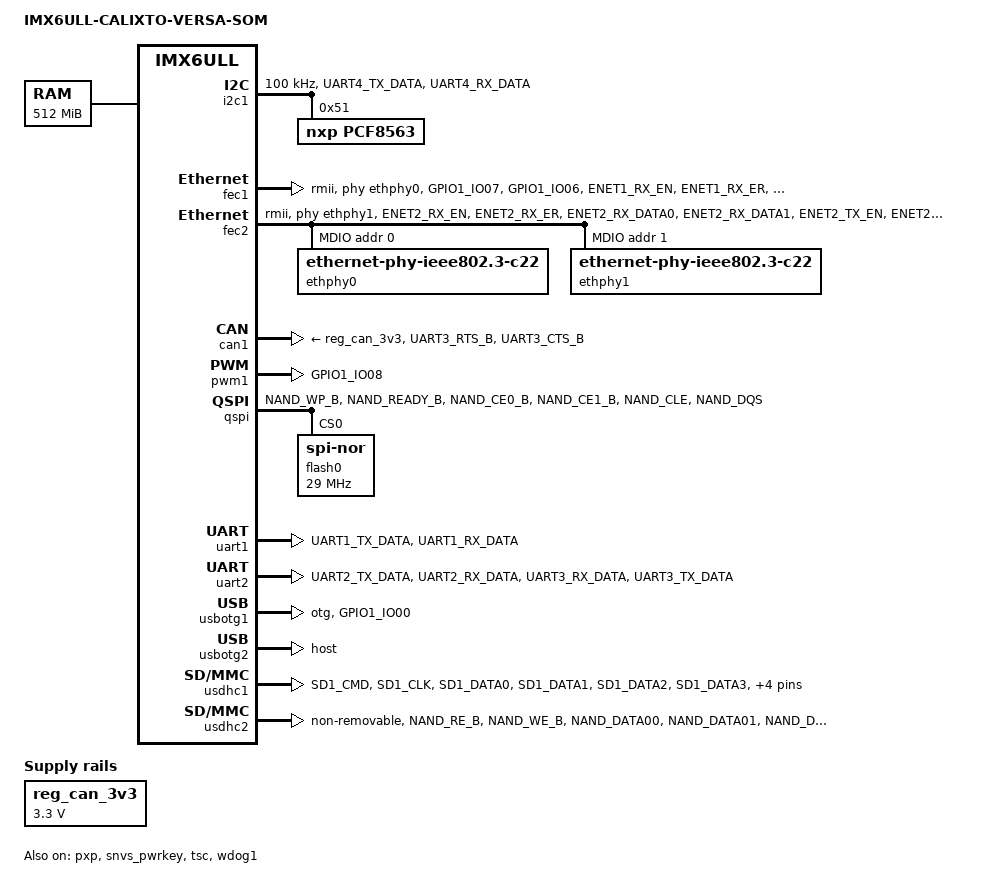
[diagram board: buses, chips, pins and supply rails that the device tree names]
// SPDX-License-Identifier: (GPL-2.0 OR MIT)
/*
 * Copyright (C) 2024-2025 Calixto Systems Pvt Ltd - https://www.calixtosystems.com/
 *
 */
 
/dts-v1/;

#include "imx6ull.dtsi"

/ {
	model = "IMX6ULL-CALIXTO-VERSA-SOM";
	compatible = "calixto,imx6ull-calixto-versa-som", "fsl,imx6ull";

	aliases {
		i2c0 = &i2c1;
	};

	chosen {
		stdout-path = &uart1;
	};

	memory@80000000 {
		device_type = "memory";
		reg = <0x00000000 0x80000000 0x00000000 0x20000000>;
	};

	reserved-memory {
		#address-cells = <1>;
		#size-cells = <1>;
		ranges;

		linux,cma {
			compatible = "shared-dma-pool";
			reusable;
			size = <0xa000000>;
			linux,cma-default;
		};
	};

	pxp_v4l2 {
		compatible = "fsl,imx6ul-pxp-v4l2", "fsl,imx6sx-pxp-v4l2", "fsl,imx6sl-pxp-v4l2";
		status = "okay";
	};

	reg_can_3v3: regulator-can-3v3 {
		compatible = "regulator-fixed";
		regulator-name = "can-3v3";
		regulator-min-microvolt = <3300000>;
		regulator-max-microvolt = <3300000>;
	};

};

&clks {
	assigned-clocks = <&clks IMX6UL_CLK_PLL3_PFD2>,
			  <&clks IMX6UL_CLK_PLL4_AUDIO_DIV>;
	assigned-clock-rates = <320000000>, <786432000>;
};

&i2c1 {
	clock-frequency = <100000>;
	pinctrl-names = "default";
	pinctrl-0 = <&pinctrl_i2c1>;
	status = "okay";

	pcf8563@51 {
		status = "okay";
		compatible = "nxp,pcf8563";
		reg = <0x51>;
	};
};

&fec1 {
	pinctrl-names = "default";
	pinctrl-0 = <&pinctrl_enet1>;
	phy-mode = "rmii";
	phy-handle = <&ethphy0>;
	status = "okay";
};

&fec2 {
	pinctrl-names = "default";
	pinctrl-0 = <&pinctrl_enet2>;
	phy-mode = "rmii";
	phy-handle = <&ethphy1>;
	status = "okay";
	mdio {
		#address-cells = <1>;
		#size-cells = <0>;
		
		ethphy0: ethernet-phy@0 {
			reg = <0>;
			compatible = "ethernet-phy-ieee802.3-c22";
			clocks = <&clks IMX6UL_CLK_ENET_REF>;
			clock-names = "rmii-ref";
		};
		
		ethphy1: ethernet-phy@1 {
			reg = <1>;
			compatible = "ethernet-phy-ieee802.3-c22";
			clocks = <&clks IMX6UL_CLK_ENET_REF>;
			clock-names = "rmii-ref";
		};
	};
};

&can1 {
	pinctrl-names = "default";
	pinctrl-0 = <&pinctrl_flexcan1>;
	xceiver-supply = <&reg_can_3v3>;
	status = "okay";
};

&pwm1 {
	#pwm-cells = <2>;
	pinctrl-names = "default";
	pinctrl-0 = <&pinctrl_pwm1>;
	status = "okay";
};

&pxp {
	status = "okay";
};

&qspi {
	pinctrl-names = "default";
	pinctrl-0 = <&pinctrl_qspi>;
	status = "okay";

	flash0: flash@0 {
		#address-cells = <1>;
		#size-cells = <1>;
		compatible = "jedec,spi-nor";
		spi-max-frequency = <29000000>;
		spi-rx-bus-width = <4>;
		spi-tx-bus-width = <1>;
		reg = <0>;
	};
};

&snvs_poweroff {
	status = "okay";
};

&snvs_pwrkey {
	status = "okay";
};

&tsc {
	pinctrl-names = "default";
	pinctrl-0 = <&pinctrl_tsc>;
	xnur-gpio = <&gpio1 3 GPIO_ACTIVE_LOW>;
	measure-delay-time = <0xffff>;
	pre-charge-time = <0xfff>;
	status = "okay";
};

&uart1 {
	pinctrl-names = "default";
	pinctrl-0 = <&pinctrl_uart1>;
	status = "okay";
};

&uart2 {
	pinctrl-names = "default";
	pinctrl-0 = <&pinctrl_uart2>;
	uart-has-rtscts;
	/* for DTE mode, add below change */
	/* fsl,dte-mode; */
	/* pinctrl-0 = <&pinctrl_uart2dte>; */
	status = "okay";
};

&usbotg1 {
	dr_mode = "otg";
	pinctrl-names = "default";
	pinctrl-0 = <&pinctrl_usb_otg1>;
	status = "okay";
};

&usbotg2 {
	dr_mode = "host";
	disable-over-current;
	status = "okay";
};

&usbphy1 {
	fsl,tx-d-cal = <106>;
};

&usbphy2 {
	fsl,tx-d-cal = <106>;
};

&usdhc1 {
	pinctrl-names = "default", "state_100mhz", "state_200mhz";
	pinctrl-0 = <&pinctrl_usdhc1>;
	pinctrl-1 = <&pinctrl_usdhc1_100mhz>;
	pinctrl-2 = <&pinctrl_usdhc1_200mhz>;
	cd-gpios = <&gpio1 19 GPIO_ACTIVE_LOW>;
	keep-power-in-suspend;
	wakeup-source;
	status = "okay";
};

&usdhc2 {
	pinctrl-names = "default";
	pinctrl-0 = <&pinctrl_usdhc2>;
	non-removable;
	keep-power-in-suspend;
	wakeup-source;
	status = "okay";
};

&wdog1 {
	pinctrl-names = "default";
	pinctrl-0 = <&pinctrl_wdog>;
	fsl,ext-reset-output;
	status = "okay";
};

&iomuxc {
	pinctrl-names = "default";

	pinctrl_enet1: enet1grp {
		fsl,pins = <
			MX6UL_PAD_GPIO1_IO07__ENET2_MDC		0x1b0b0
			MX6UL_PAD_GPIO1_IO06__ENET2_MDIO	0x1b0b0
			MX6UL_PAD_ENET1_RX_EN__ENET1_RX_EN	0x1b0b0
			MX6UL_PAD_ENET1_RX_ER__ENET1_RX_ER	0x1b0b0
			MX6UL_PAD_ENET1_RX_DATA0__ENET1_RDATA00	0x1b0b0
			MX6UL_PAD_ENET1_RX_DATA1__ENET1_RDATA01	0x1b0b0
			MX6UL_PAD_ENET1_TX_EN__ENET1_TX_EN	0x1b0b0
			MX6UL_PAD_ENET1_TX_DATA0__ENET1_TDATA00	0x1b0b0
			MX6UL_PAD_ENET1_TX_DATA1__ENET1_TDATA01	0x1b0b0
			MX6UL_PAD_ENET1_TX_CLK__ENET1_REF_CLK1	0x4001b031
		>;
	};

	pinctrl_enet2: enet2grp {
		fsl,pins = <
			MX6UL_PAD_ENET2_RX_EN__ENET2_RX_EN	0x1b0b0
			MX6UL_PAD_ENET2_RX_ER__ENET2_RX_ER	0x1b0b0
			MX6UL_PAD_ENET2_RX_DATA0__ENET2_RDATA00	0x1b0b0
			MX6UL_PAD_ENET2_RX_DATA1__ENET2_RDATA01	0x1b0b0
			MX6UL_PAD_ENET2_TX_EN__ENET2_TX_EN	0x1b0b0
			MX6UL_PAD_ENET2_TX_DATA0__ENET2_TDATA00	0x1b0b0
			MX6UL_PAD_ENET2_TX_DATA1__ENET2_TDATA01	0x1b0b0
			MX6UL_PAD_ENET2_TX_CLK__ENET2_REF_CLK2	0x4001b031
		>;
	};

	pinctrl_flexcan1: flexcan1grp{
		fsl,pins = <
			MX6UL_PAD_UART3_RTS_B__FLEXCAN1_RX	0x1b020
			MX6UL_PAD_UART3_CTS_B__FLEXCAN1_TX	0x1b020
		>;
	};

	pinctrl_flexcan2: flexcan2grp{
		fsl,pins = <
			MX6UL_PAD_UART2_RTS_B__FLEXCAN2_RX	0x1b020
			MX6UL_PAD_UART2_CTS_B__FLEXCAN2_TX	0x1b020
		>;
	};

	pinctrl_i2c1: i2c1grp {
		fsl,pins = <
			MX6UL_PAD_UART4_TX_DATA__I2C1_SCL 0x4001b8b0
			MX6UL_PAD_UART4_RX_DATA__I2C1_SDA 0x4001b8b0
		>;
	};

	pinctrl_qspi: qspigrp {
		fsl,pins = <
			MX6UL_PAD_NAND_WP_B__QSPI_A_SCLK	0x70a1
			MX6UL_PAD_NAND_READY_B__QSPI_A_DATA00	0x70a1
			MX6UL_PAD_NAND_CE0_B__QSPI_A_DATA01	0x70a1
			MX6UL_PAD_NAND_CE1_B__QSPI_A_DATA02	0x70a1
			MX6UL_PAD_NAND_CLE__QSPI_A_DATA03	0x70a1
			MX6UL_PAD_NAND_DQS__QSPI_A_SS0_B	0x70a1
		>;
	};

	pinctrl_pwm1: pwm1grp {
		fsl,pins = <
			MX6UL_PAD_GPIO1_IO08__PWM1_OUT   0x110b0
		>;
	};

	pinctrl_tsc: tscgrp {
		fsl,pins = <
			MX6UL_PAD_GPIO1_IO01__GPIO1_IO01		0xb0
			MX6UL_PAD_GPIO1_IO02__GPIO1_IO02		0xb0
			MX6UL_PAD_GPIO1_IO03__GPIO1_IO03		0xb0
			MX6UL_PAD_GPIO1_IO04__GPIO1_IO04		0xb0
		>;
	};

	pinctrl_uart1: uart1grp {
		fsl,pins = <
			MX6UL_PAD_UART1_TX_DATA__UART1_DCE_TX 0x1b0b1
			MX6UL_PAD_UART1_RX_DATA__UART1_DCE_RX 0x1b0b1
		>;
	};

	pinctrl_uart2: uart2grp {
		fsl,pins = <
			MX6UL_PAD_UART2_TX_DATA__UART2_DCE_TX	0x1b0b1
			MX6UL_PAD_UART2_RX_DATA__UART2_DCE_RX	0x1b0b1
			MX6UL_PAD_UART3_RX_DATA__UART2_DCE_RTS	0x1b0b1
			MX6UL_PAD_UART3_TX_DATA__UART2_DCE_CTS	0x1b0b1
		>;
	};

	pinctrl_uart2dte: uart2dtegrp {
		fsl,pins = <
			MX6UL_PAD_UART2_TX_DATA__UART2_DTE_RX	0x1b0b1
			MX6UL_PAD_UART2_RX_DATA__UART2_DTE_TX	0x1b0b1
			MX6UL_PAD_UART3_RX_DATA__UART2_DTE_CTS	0x1b0b1
			MX6UL_PAD_UART3_TX_DATA__UART2_DTE_RTS	0x1b0b1
		>;
	};

	pinctrl_usb_otg1: usbotg1grp {
		fsl,pins = <
			MX6UL_PAD_GPIO1_IO00__ANATOP_OTG1_ID	0x17059
		>;
	};

	pinctrl_usdhc1: usdhc1grp {
		fsl,pins = <
			MX6UL_PAD_SD1_CMD__USDHC1_CMD     	0x17059
			MX6UL_PAD_SD1_CLK__USDHC1_CLK		0x10071
			MX6UL_PAD_SD1_DATA0__USDHC1_DATA0 	0x17059
			MX6UL_PAD_SD1_DATA1__USDHC1_DATA1 	0x17059
			MX6UL_PAD_SD1_DATA2__USDHC1_DATA2 	0x17059
			MX6UL_PAD_SD1_DATA3__USDHC1_DATA3 	0x17059
			MX6UL_PAD_NAND_DATA07__GPIO4_IO09       0x17059 /* SD1 CD */
			MX6UL_PAD_GPIO1_IO05__USDHC1_VSELECT    0x17059 /* SD1 VSELECT */
			MX6UL_PAD_GPIO1_IO09__GPIO1_IO09        0x17059 /* SD1 RESET */
		>;
	};

	pinctrl_usdhc1_100mhz: usdhc1grp100mhz {
		fsl,pins = <
			MX6UL_PAD_SD1_CMD__USDHC1_CMD     0x170b9
			MX6UL_PAD_SD1_CLK__USDHC1_CLK     0x100b9
			MX6UL_PAD_SD1_DATA0__USDHC1_DATA0 0x170b9
			MX6UL_PAD_SD1_DATA1__USDHC1_DATA1 0x170b9
			MX6UL_PAD_SD1_DATA2__USDHC1_DATA2 0x170b9
			MX6UL_PAD_SD1_DATA3__USDHC1_DATA3 0x170b9

		>;
	};

	pinctrl_usdhc1_200mhz: usdhc1grp200mhz {
		fsl,pins = <
			MX6UL_PAD_SD1_CMD__USDHC1_CMD     0x170f9
			MX6UL_PAD_SD1_CLK__USDHC1_CLK     0x100f9
			MX6UL_PAD_SD1_DATA0__USDHC1_DATA0 0x170f9
			MX6UL_PAD_SD1_DATA1__USDHC1_DATA1 0x170f9
			MX6UL_PAD_SD1_DATA2__USDHC1_DATA2 0x170f9
			MX6UL_PAD_SD1_DATA3__USDHC1_DATA3 0x170f9
		>;
	};

	pinctrl_usdhc2: usdhc2grp {
		fsl,pins = <
			MX6UL_PAD_NAND_RE_B__USDHC2_CLK     0x17059
			MX6UL_PAD_NAND_WE_B__USDHC2_CMD     0x17059
			MX6UL_PAD_NAND_DATA00__USDHC2_DATA0 0x17059
			MX6UL_PAD_NAND_DATA01__USDHC2_DATA1 0x17059
			MX6UL_PAD_NAND_DATA02__USDHC2_DATA2 0x17059
			MX6UL_PAD_NAND_DATA03__USDHC2_DATA3 0x17059
		>;
	};

	pinctrl_usdhc2_8bit: usdhc2grp_8bit {
		fsl,pins = <
			MX6UL_PAD_NAND_RE_B__USDHC2_CLK     0x10069
			MX6UL_PAD_NAND_WE_B__USDHC2_CMD     0x17059
			MX6UL_PAD_NAND_DATA00__USDHC2_DATA0 0x17059
			MX6UL_PAD_NAND_DATA01__USDHC2_DATA1 0x17059
			MX6UL_PAD_NAND_DATA02__USDHC2_DATA2 0x17059
			MX6UL_PAD_NAND_DATA03__USDHC2_DATA3 0x17059
			MX6UL_PAD_NAND_DATA04__USDHC2_DATA4 0x17059
			MX6UL_PAD_NAND_DATA05__USDHC2_DATA5 0x17059
			MX6UL_PAD_NAND_DATA06__USDHC2_DATA6 0x17059
			MX6UL_PAD_NAND_DATA07__USDHC2_DATA7 0x17059
		>;
	};

	pinctrl_usdhc2_8bit_100mhz: usdhc2grp_8bit_100mhz {
		fsl,pins = <
			MX6UL_PAD_NAND_RE_B__USDHC2_CLK     0x100b9
			MX6UL_PAD_NAND_WE_B__USDHC2_CMD     0x170b9
			MX6UL_PAD_NAND_DATA00__USDHC2_DATA0 0x170b9
			MX6UL_PAD_NAND_DATA01__USDHC2_DATA1 0x170b9
			MX6UL_PAD_NAND_DATA02__USDHC2_DATA2 0x170b9
			MX6UL_PAD_NAND_DATA03__USDHC2_DATA3 0x170b9
			MX6UL_PAD_NAND_DATA04__USDHC2_DATA4 0x170b9
			MX6UL_PAD_NAND_DATA05__USDHC2_DATA5 0x170b9
			MX6UL_PAD_NAND_DATA06__USDHC2_DATA6 0x170b9
			MX6UL_PAD_NAND_DATA07__USDHC2_DATA7 0x170b9
		>;
	};

	pinctrl_usdhc2_8bit_200mhz: usdhc2grp_8bit_200mhz {
		fsl,pins = <
			MX6UL_PAD_NAND_RE_B__USDHC2_CLK     0x100f9
			MX6UL_PAD_NAND_WE_B__USDHC2_CMD     0x170f9
			MX6UL_PAD_NAND_DATA00__USDHC2_DATA0 0x170f9
			MX6UL_PAD_NAND_DATA01__USDHC2_DATA1 0x170f9
			MX6UL_PAD_NAND_DATA02__USDHC2_DATA2 0x170f9
			MX6UL_PAD_NAND_DATA03__USDHC2_DATA3 0x170f9
			MX6UL_PAD_NAND_DATA04__USDHC2_DATA4 0x170f9
			MX6UL_PAD_NAND_DATA05__USDHC2_DATA5 0x170f9
			MX6UL_PAD_NAND_DATA06__USDHC2_DATA6 0x170f9
			MX6UL_PAD_NAND_DATA07__USDHC2_DATA7 0x170f9
		>;
	};
	
	pinctrl_wdog: wdoggrp {
			fsl,pins = <
				MX6UL_PAD_LCD_RESET__WDOG1_WDOG_ANY    0x30b0
			>;
		};

};
